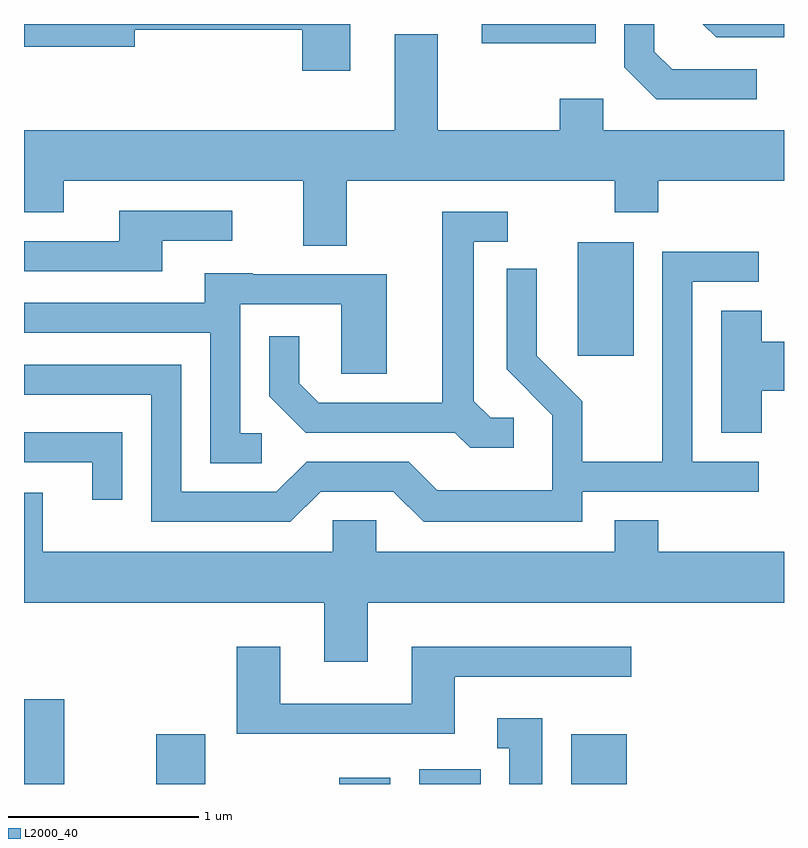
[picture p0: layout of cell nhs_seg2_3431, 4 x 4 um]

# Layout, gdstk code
import gdstk
lib = gdstk.Library(unit=1e-6, precision=1e-09)
def R(c, l, rs):  # rectangles x0, y0, x1, y1
    for r in rs: c.add(gdstk.rectangle(r[:2], r[2:], *l))
def P(c, l, *ps):  # polygons
    for p in ps: c.add(gdstk.Polygon(p, *l))
L2000_40 = (2000, 40)

nhs_seg2_3431 = lib.new_cell('nhs_seg2_3431')
R(nhs_seg2_3431, L2000_40, [(285.611,1051.802,285.824,1052.249), (286.306,1051.802,286.564,1052.064), (287.271,1051.802,287.539,1051.834), (287.691,1051.802,288.014,1051.879), (288.491,1051.802,288.784,1052.064), (288.526,1054.056,288.819,1054.654), (288.021,1055.701,288.619,1055.802)])
P(nhs_seg2_3431, L2000_40, [(289.468,1055.564),(289.022,1055.564),(288.929,1055.657),(288.929,1055.802),(288.771,1055.802),(288.771,1055.574),(288.939,1055.406),(289.468,1055.406)],
  [(289.611,1055.802),(289.183,1055.802),(289.254,1055.731),(289.611,1055.731)],
  [(287.329,1055.802),(285.611,1055.802),(285.611,1055.681),(286.194,1055.681),(286.194,1055.771),(287.076,1055.771),(287.076,1055.556),(287.329,1055.556)],
  [(287.309,1054.976),(288.721,1054.976),(288.721,1054.811),(288.949,1054.811),(288.949,1054.976),(289.611,1054.976),(289.611,1055.244),(288.659,1055.244),(288.659,1055.409),(288.431,1055.409),(288.431,1055.244),(287.789,1055.244),(287.789,1055.749),(287.561,1055.749),(287.561,1055.244),(285.611,1055.244),(285.611,1054.811),(285.819,1054.811),(285.819,1054.976),(287.081,1054.976),(287.081,1054.636),(287.309,1054.636)],
  [(286.339,1054.661),(286.708,1054.661),(286.708,1054.819),(286.111,1054.819),(286.111,1054.659),(285.611,1054.659),(285.611,1054.501),(286.339,1054.501)],
  [(288.188,1053.729),(288.067,1053.729),(287.979,1053.817),(287.979,1054.656),(288.158,1054.656),(288.158,1054.814),(287.811,1054.814),(287.811,1053.809),(287.162,1053.809),(287.059,1053.912),(287.059,1054.158),(286.901,1054.158),(286.901,1053.844),(287.094,1053.651),(287.879,1053.651),(287.959,1053.571),(288.188,1053.571)],
  [(287.172,1053.341),(287.554,1053.341),(287.714,1053.181),(288.549,1053.181),(288.549,1053.341),(289.478,1053.341),(289.478,1053.499),(289.129,1053.499),(289.129,1054.446),(289.478,1054.446),(289.478,1054.604),(288.971,1054.604),(288.971,1053.499),(288.549,1053.499),(288.549,1053.817),(288.309,1054.057),(288.309,1054.513),(288.151,1054.513),(288.151,1053.984),(288.391,1053.744),(288.391,1053.349),(287.787,1053.349),(287.637,1053.499),(287.099,1053.499),(286.939,1053.339),(286.439,1053.339),(286.439,1054.009),(285.611,1054.009),(285.611,1053.851),(286.281,1053.851),(286.281,1053.181),(287.012,1053.181)],
  [(286.863,1053.649),(286.749,1053.649),(286.749,1054.326),(287.281,1054.326),(287.281,1053.961),(287.519,1053.961),(287.519,1054.484),(286.815,1054.484),(286.815,1054.489),(286.561,1054.489),(286.561,1054.334),(285.611,1054.334),(285.611,1054.176),(286.591,1054.176),(286.591,1053.491),(286.863,1053.491)],
  [(289.494,1053.871),(289.611,1053.871),(289.611,1054.129),(289.494,1054.129),(289.494,1054.294),(289.281,1054.294),(289.281,1053.651),(289.494,1053.651)],
  [(286.129,1053.654),(285.611,1053.654),(285.611,1053.496),(285.971,1053.496),(285.971,1053.298),(286.129,1053.298)],
  [(287.419,1052.756),(289.611,1052.756),(289.611,1053.024),(288.949,1053.024),(288.949,1053.189),(288.721,1053.189),(288.721,1053.024),(287.464,1053.024),(287.464,1053.189),(287.236,1053.189),(287.236,1053.024),(285.709,1053.024),(285.709,1053.334),(285.611,1053.334),(285.611,1052.756),(287.191,1052.756),(287.191,1052.446),(287.419,1052.446)],
  [(287.879,1052.366),(288.808,1052.366),(288.808,1052.524),(287.651,1052.524),(287.651,1052.224),(286.959,1052.224),(286.959,1052.524),(286.731,1052.524),(286.731,1052.066),(287.879,1052.066)],
  [(288.339,1052.149),(288.103,1052.149),(288.103,1051.991),(288.166,1051.991),(288.166,1051.802),(288.339,1051.802)])

lib.write_gds('nhs_seg2_3431.gds')
